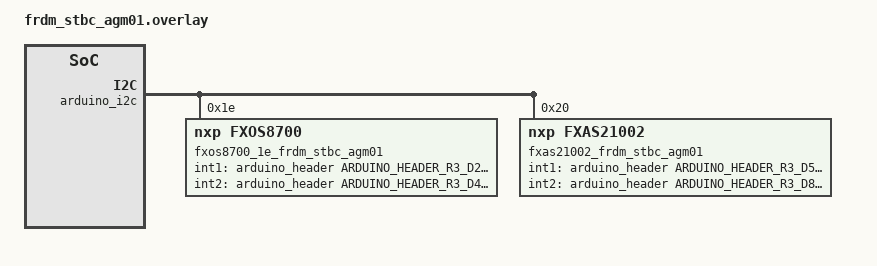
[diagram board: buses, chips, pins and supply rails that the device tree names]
/*
 * Copyright (c) 2021 Ryan Holleran
 * SPDX-License-Identifier: Apache-2.0
 */

#include <zephyr/dt-bindings/gpio/arduino-header-r3.h>

/ {
	aliases {
		magn0 = &fxos8700_1e_frdm_stbc_agm01;
		accel0 = &fxos8700_1e_frdm_stbc_agm01;
	};
};

&arduino_i2c {
	fxos8700_1e_frdm_stbc_agm01: fxos8700@1e {
		compatible = "nxp,fxos8700";
		reg = <0x1e>;
		int1-gpios = <&arduino_header ARDUINO_HEADER_R3_D2 GPIO_ACTIVE_LOW>;
		int2-gpios = <&arduino_header ARDUINO_HEADER_R3_D4 GPIO_ACTIVE_LOW>;
	};

	fxas21002_frdm_stbc_agm01: fxas21002@20 {
		compatible = "nxp,fxas21002";
		reg = <0x20>;
		int1-gpios = <&arduino_header ARDUINO_HEADER_R3_D5 GPIO_ACTIVE_LOW>;
		int2-gpios = <&arduino_header ARDUINO_HEADER_R3_D8 GPIO_ACTIVE_LOW>;
	};
};
